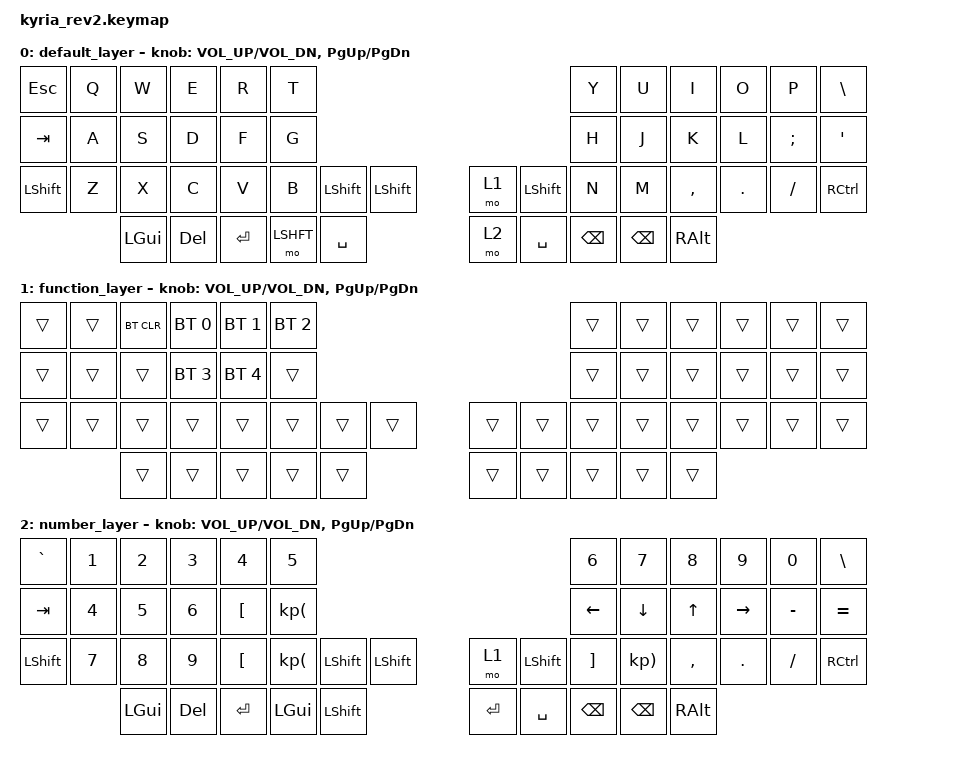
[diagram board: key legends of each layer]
/*
 * Copyright (c) 2020 The ZMK Contributors
 *
 * SPDX-License-Identifier: MIT
 */

#include <behaviors.dtsi>
#include <dt-bindings/zmk/bt.h>
#include <dt-bindings/zmk/keys.h>

/ {
    keymap {
        compatible = "zmk,keymap";

        default_layer {
// ---------------------------------------------------------------------------------------------------------------------------------
// |  ESC  |  Q  |  W  |  E   |  R   |  T   |                                          |  Y   |  U    |  I    |  O   |   P   |   \  |
// |  TAB  |  A  |  S  |  D   |  F   |  G   |                                          |  H   |  J    |  K    |  L   |   ;   |   '  |
// | SHIFT |  Z  |  X  |  C   |  V   |  B   | L SHIFT | L SHIFT |  | LAYER 1 | L SHIFT |  N   |  M    |  ,    |  .   |   /   | CTRL |
//                     | GUI  | DEL  | RET  |  SPACE  |   ESC   |  |   RET   |  SPACE  | TAB  | BSPC  | R-ALT |
            bindings = <
    &kp ESC   &kp Q &kp W &kp E &kp R &kp T                                                &kp Y &kp U  &kp I     &kp O   &kp P    &kp BSLH
    &kp TAB   &kp A &kp S &kp D &kp F &kp G                                                &kp H &kp J  &kp K     &kp L   &kp SEMI &kp SQT
    &kp LSHFT &kp Z &kp X &kp C &kp V &kp B &kp LSHFT &kp LSHFT        &mo 1    &kp LSHFT  &kp N &kp M  &kp COMMA &kp DOT &kp FSLH &kp RCTRL
                     &kp LGUI &kp DEL &kp RET &mo LSHFT &kp SPACE        &mo 2  &kp SPACE  &kp BSPC &kp BSPC &kp RALT
            >;

            sensor-bindings = <&inc_dec_kp C_VOL_UP C_VOL_DN &inc_dec_kp PG_UP PG_DN>;
        };
        function_layer {
// ---------------------------------------------------------------------------------------------------------------------------------
// |       |      |BT_CLR|BTSEL0|BTSEL1|BTSEL2|                                         |      |      |      |      |      |      |
// |       |      |      |BTSEL3|BTSEL4|      |                                         |      |      |      |      |      |      |
// |       |      |      |      |      |      |      |      |      |      |      |      |      |      |      |      |      |      |
//                       |      |      |      |      |      |      |      |      |      |      |      |      |
            bindings = <
    &trans &trans &bt BT_CLR &bt BT_SEL 0 &bt BT_SEL 1 &bt BT_SEL 2              &trans &trans &trans &trans &trans &trans
    &trans &trans &trans     &bt BT_SEL 3 &bt BT_SEL 4 &trans                    &trans &trans &trans &trans &trans &trans
    &trans &trans &trans &trans &trans &trans &trans &trans        &trans &trans &trans &trans &trans &trans &trans &trans
                         &trans &trans &trans &trans &trans        &trans &trans &trans &trans &trans
            >;

            sensor-bindings = <&inc_dec_kp C_VOL_UP C_VOL_DN &inc_dec_kp PG_UP PG_DN>;
        };

        number_layer {
// ---------------------------------------------------------------------------------------------------------------------------------
// |  ESC  |  Q  |  W  |  E   |  R   |  T   |                                          |  Y   |  U    |  I    |  O   |   P   |   \  |
// |  TAB  |  A  |  S  |  D   |  F   |  G   |                                          |  H   |  J    |  K    |  L   |   ;   |   '  |
// | SHIFT |  Z  |  X  |  C   |  V   |  B   | L SHIFT | L SHIFT |  | LAYER 1 | L SHIFT |  N   |  M    |  ,    |  .   |   /   | CTRL |
//                     | GUI  | DEL  | RET  |  SPACE  |   ESC   |  |   RET   |  SPACE  | TAB  | BSPC  | R-ALT |
            bindings = <
    &kp GRAVE   &kp N1 &kp N2 &kp N3 &kp N4 &kp N5                                                &kp N6 &kp N7  &kp N8     &kp N9   &kp N0    &kp BSLH
    &kp TAB   &kp N4 &kp N5 &kp N6 &kp LEFT_BRACKET &kp KP_LPAR                                 &kp LEFT &kp DOWN  &kp UP     &kp RIGHT   &kp MINUS &kp EQUAL
    &kp LSHFT &kp N7 &kp N8 &kp N9 &kp LEFT_BRACKET &kp KP_LPAR &kp LSHFT &kp LSHFT        &mo 1 &kp LSHFT  &kp RIGHT_BRACKET &kp KP_RPAR  &kp COMMA &kp DOT &kp FSLH &kp RCTRL
                                   &kp LGUI &kp DEL &kp RET &kp LGUI &kp LSHFT             &kp RET  &kp SPACE  &kp BSPC &kp BSPC &kp RALT
            >;

            sensor-bindings = <&inc_dec_kp C_VOL_UP C_VOL_DN &inc_dec_kp PG_UP PG_DN>;
        };
    };
};
